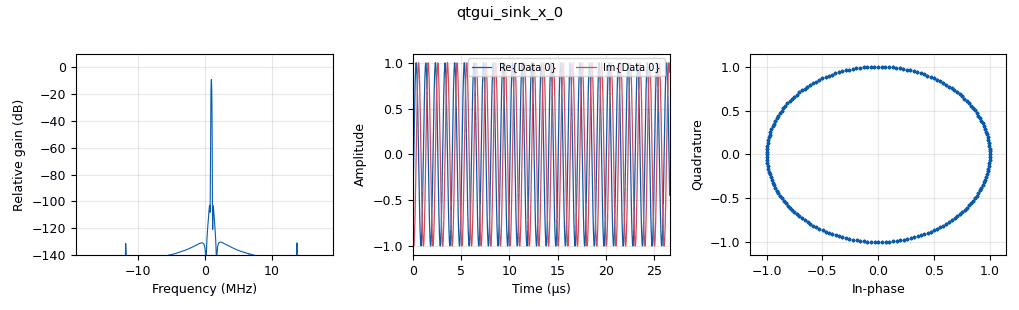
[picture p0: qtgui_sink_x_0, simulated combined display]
options:
  parameters:
    author: John Swoboda
    description: 'This grc flow graph is outputing a signal to zmq. The final sampling frequency out must be 38.4 MHz. '
    generate_options: qt_gui
    id: zmqfeeder
    output_language: python
    run: 'False'
    title: ZeroMQ feed
  states: {}

blocks:
- name: analog_sig_source_x_0
  id: analog_sig_source_x
  parameters:
    amp: '1'
    freq: '1000000'
    offset: '0'
    phase: '.1'
    samp_rate: samp_rate
    type: complex
    waveform: analog.GR_COS_WAVE
  states: {}
- name: blocks_complex_to_interleaved_short_0
  id: blocks_complex_to_interleaved_short
  parameters:
    scale_factor: '8192'
    vector_output: 'True'
  states: {}
- name: blocks_message_debug_0
  id: blocks_message_debug
  parameters: {}
  states: {}
- name: blocks_throttle2_0
  id: blocks_throttle2
  parameters:
    samples_per_second: samp_rate
    type: complex
  states: {}
- name: drfdir
  id: parameter
  parameters:
    label: drfdir
    type: str
    value: '"/Users/swoboj/Documents/Python/spectrumx/mep_tx/example/txchan0"'
  states: {}
- name: en_time
  id: parameter
  parameters:
    label: en_time
    type: str
    value: '""'
  states: {}
- name: pubaddr
  id: parameter
  parameters:
    label: pubaddr
    type: str
    value: '"tcp://0.0.0.0:50241"'
  states: {}
- name: qtgui_sink_x_0
  id: qtgui_sink_x
  parameters:
    bw: samp_rate
    fc: '0'
    fftsize: '1024'
    type: complex
  states: {}
- name: rational_resampler_xxx_0
  id: rational_resampler_xxx
  parameters:
    decim: '1'
    interp: '8'
    type: ccc
  states: {state: disabled}
- name: samp_rate
  id: parameter
  parameters:
    label: samp_rate
    type: eng_float
    value: 38.4e6
  states: {}
- name: st_time
  id: parameter
  parameters:
    label: st_time
    type: str
    value: '""'
  states: {}
- name: zeromq_pub_sink_0
  id: zeromq_pub_sink
  parameters:
    address: pubaddr
    timeout: '100'
    type: short
    vlen: '2'
  states: {}

connections:
- [analog_sig_source_x_0, '0', blocks_throttle2_0, '0']
- [blocks_complex_to_interleaved_short_0, '0', zeromq_pub_sink_0, '0']
- [blocks_throttle2_0, '0', blocks_complex_to_interleaved_short_0, '0']
- [blocks_throttle2_0, '0', qtgui_sink_x_0, '0']
- [blocks_throttle2_0, '0', rational_resampler_xxx_0, '0']
- [rational_resampler_xxx_0, '0', blocks_complex_to_interleaved_short_0, '0']
- [rational_resampler_xxx_0, '0', qtgui_sink_x_0, '0']

metadata:
  file_format: 1
  grc_version: 3.10.7.0
